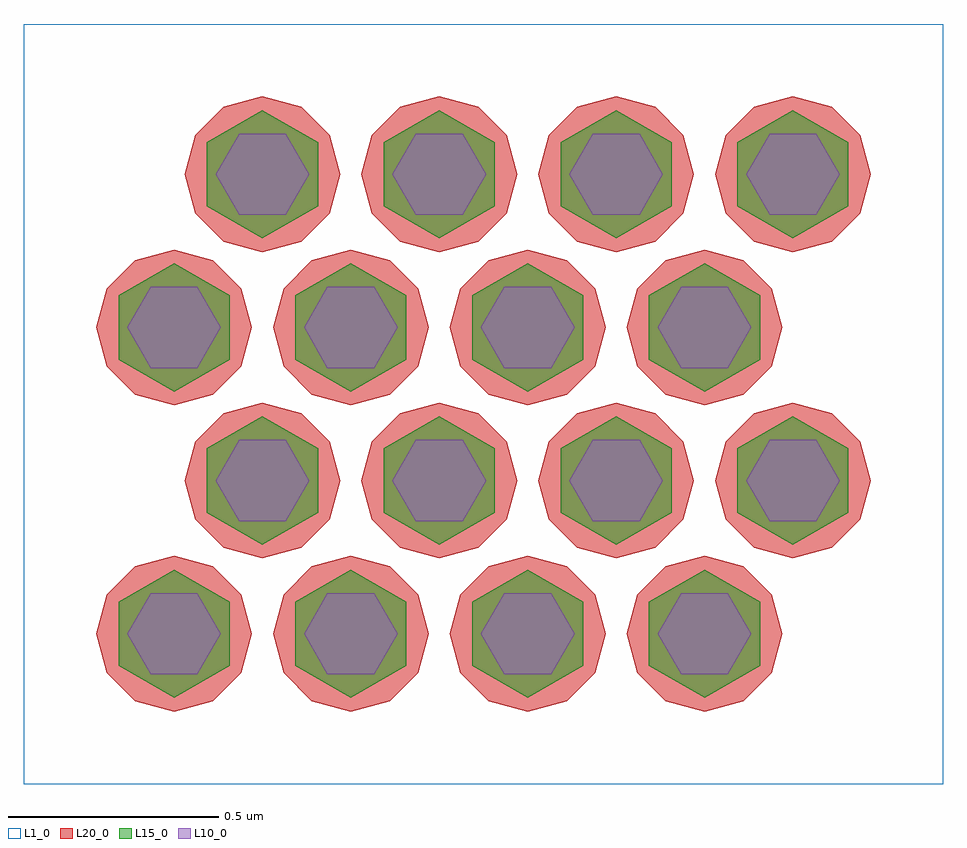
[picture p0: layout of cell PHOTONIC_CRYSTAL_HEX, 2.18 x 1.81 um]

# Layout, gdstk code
import gdstk
lib = gdstk.Library(unit=1e-6, precision=1e-12)
def R(c, l, rs):  # rectangles x0, y0, x1, y1
    for r in rs: c.add(gdstk.rectangle(r[:2], r[2:], *l))
def P(c, l, *ps):  # polygons
    for p in ps: c.add(gdstk.Polygon(p, *l))
L1_0 = (1, 0)
L10_0 = (10, 0)
L15_0 = (15, 0)
L20_0 = (20, 0)

photonic_crystal_hex = lib.new_cell('PHOTONIC_CRYSTAL_HEX')
R(photonic_crystal_hex, L1_0, [(-0.357,-0.357,1.827,1.4482)])
P(photonic_crystal_hex, L10_0, [(0.0556,-0.0964),(0.1113,0),(0.0556,0.0964),(-0.0556,0.0964),(-0.1113,0),(-0.0556,-0.0964)],
  [(0.4756,-0.0964),(0.5313,0),(0.4756,0.0964),(0.3644,0.0964),(0.3087,0),(0.3644,-0.0964)],
  [(0.8956,-0.0964),(0.9513,0),(0.8956,0.0964),(0.7844,0.0964),(0.7287,0),(0.7844,-0.0964)],
  [(1.3156,-0.0964),(1.3713,0),(1.3156,0.0964),(1.2044,0.0964),(1.1487,0),(1.2044,-0.0964)],
  [(0.2656,0.2674),(0.3213,0.3637),(0.2656,0.4601),(0.1544,0.4601),(0.0987,0.3637),(0.1544,0.2674)],
  [(0.6856,0.2674),(0.7413,0.3637),(0.6856,0.4601),(0.5744,0.4601),(0.5187,0.3637),(0.5744,0.2674)],
  [(1.1056,0.2674),(1.1613,0.3637),(1.1056,0.4601),(0.9944,0.4601),(0.9387,0.3637),(0.9944,0.2674)],
  [(1.5256,0.2674),(1.5813,0.3637),(1.5256,0.4601),(1.4144,0.4601),(1.3587,0.3637),(1.4144,0.2674)],
  [(0.0556,0.6311),(0.1113,0.7275),(0.0556,0.8238),(-0.0556,0.8238),(-0.1113,0.7275),(-0.0556,0.6311)],
  [(0.4756,0.6311),(0.5313,0.7275),(0.4756,0.8238),(0.3644,0.8238),(0.3087,0.7275),(0.3644,0.6311)],
  [(0.8956,0.6311),(0.9513,0.7275),(0.8956,0.8238),(0.7844,0.8238),(0.7287,0.7275),(0.7844,0.6311)],
  [(1.3156,0.6311),(1.3713,0.7275),(1.3156,0.8238),(1.2044,0.8238),(1.1487,0.7275),(1.2044,0.6311)],
  [(0.2656,0.9948),(0.3213,1.0912),(0.2656,1.1875),(0.1544,1.1875),(0.0987,1.0912),(0.1544,0.9948)],
  [(0.6856,0.9948),(0.7413,1.0912),(0.6856,1.1875),(0.5744,1.1875),(0.5187,1.0912),(0.5744,0.9948)],
  [(1.1056,0.9948),(1.1613,1.0912),(1.1056,1.1875),(0.9944,1.1875),(0.9387,1.0912),(0.9944,0.9948)],
  [(1.5256,0.9948),(1.5813,1.0912),(1.5256,1.1875),(1.4144,1.1875),(1.3587,1.0912),(1.4144,0.9948)])
P(photonic_crystal_hex, L15_0, [(0.132,-0.0762),(0.132,0.0762),(0,0.1524),(-0.132,0.0762),(-0.132,-0.0762),(0,-0.1524)],
  [(0.552,-0.0762),(0.552,0.0762),(0.42,0.1524),(0.288,0.0762),(0.288,-0.0762),(0.42,-0.1524)],
  [(0.972,-0.0762),(0.972,0.0762),(0.84,0.1524),(0.708,0.0762),(0.708,-0.0762),(0.84,-0.1524)],
  [(1.392,-0.0762),(1.392,0.0762),(1.26,0.1524),(1.128,0.0762),(1.128,-0.0762),(1.26,-0.1524)],
  [(0.342,0.2875),(0.342,0.4399),(0.21,0.5161),(0.078,0.4399),(0.078,0.2875),(0.21,0.2113)],
  [(0.762,0.2875),(0.762,0.4399),(0.63,0.5161),(0.498,0.4399),(0.498,0.2875),(0.63,0.2113)],
  [(1.182,0.2875),(1.182,0.4399),(1.05,0.5161),(0.918,0.4399),(0.918,0.2875),(1.05,0.2113)],
  [(1.602,0.2875),(1.602,0.4399),(1.47,0.5161),(1.338,0.4399),(1.338,0.2875),(1.47,0.2113)],
  [(0.132,0.6513),(0.132,0.8037),(0,0.8798),(-0.132,0.8037),(-0.132,0.6513),(0,0.5751)],
  [(0.552,0.6513),(0.552,0.8037),(0.42,0.8798),(0.288,0.8037),(0.288,0.6513),(0.42,0.5751)],
  [(0.972,0.6513),(0.972,0.8037),(0.84,0.8798),(0.708,0.8037),(0.708,0.6513),(0.84,0.5751)],
  [(1.392,0.6513),(1.392,0.8037),(1.26,0.8798),(1.128,0.8037),(1.128,0.6513),(1.26,0.5751)],
  [(0.342,1.015),(0.342,1.1674),(0.21,1.2436),(0.078,1.1674),(0.078,1.015),(0.21,0.9388)],
  [(0.762,1.015),(0.762,1.1674),(0.63,1.2436),(0.498,1.1674),(0.498,1.015),(0.63,0.9388)],
  [(1.182,1.015),(1.182,1.1674),(1.05,1.2436),(0.918,1.1674),(0.918,1.015),(1.05,0.9388)],
  [(1.602,1.015),(1.602,1.1674),(1.47,1.2436),(1.338,1.1674),(1.338,1.015),(1.47,0.9388)])
P(photonic_crystal_hex, L20_0, [(0.0924,-0.16),(0.16,-0.0924),(0.1848,0),(0.16,0.0924),(0.0924,0.16),(0,0.1848),(-0.0924,0.16),(-0.16,0.0924),(-0.1848,0),(-0.16,-0.0924),(-0.0924,-0.16),(0,-0.1848)],
  [(0.5124,-0.16),(0.58,-0.0924),(0.6048,0),(0.58,0.0924),(0.5124,0.16),(0.42,0.1848),(0.3276,0.16),(0.26,0.0924),(0.2352,0),(0.26,-0.0924),(0.3276,-0.16),(0.42,-0.1848)],
  [(0.9324,-0.16),(1,-0.0924),(1.0248,0),(1,0.0924),(0.9324,0.16),(0.84,0.1848),(0.7476,0.16),(0.68,0.0924),(0.6552,0),(0.68,-0.0924),(0.7476,-0.16),(0.84,-0.1848)],
  [(1.3524,-0.16),(1.42,-0.0924),(1.4448,0),(1.42,0.0924),(1.3524,0.16),(1.26,0.1848),(1.1676,0.16),(1.1,0.0924),(1.0752,0),(1.1,-0.0924),(1.1676,-0.16),(1.26,-0.1848)],
  [(0.3024,0.2037),(0.37,0.2713),(0.3948,0.3637),(0.37,0.4561),(0.3024,0.5238),(0.21,0.5485),(0.1176,0.5238),(0.05,0.4561),(0.0252,0.3637),(0.05,0.2713),(0.1176,0.2037),(0.21,0.1789)],
  [(0.7224,0.2037),(0.79,0.2713),(0.8148,0.3637),(0.79,0.4561),(0.7224,0.5238),(0.63,0.5485),(0.5376,0.5238),(0.47,0.4561),(0.4452,0.3637),(0.47,0.2713),(0.5376,0.2037),(0.63,0.1789)],
  [(1.1424,0.2037),(1.21,0.2713),(1.2348,0.3637),(1.21,0.4561),(1.1424,0.5238),(1.05,0.5485),(0.9576,0.5238),(0.89,0.4561),(0.8652,0.3637),(0.89,0.2713),(0.9576,0.2037),(1.05,0.1789)],
  [(1.5624,0.2037),(1.63,0.2713),(1.6548,0.3637),(1.63,0.4561),(1.5624,0.5238),(1.47,0.5485),(1.3776,0.5238),(1.31,0.4561),(1.2852,0.3637),(1.31,0.2713),(1.3776,0.2037),(1.47,0.1789)],
  [(0.0924,0.5674),(0.16,0.6351),(0.1848,0.7275),(0.16,0.8199),(0.0924,0.8875),(0,0.9123),(-0.0924,0.8875),(-0.16,0.8199),(-0.1848,0.7275),(-0.16,0.6351),(-0.0924,0.5674),(0,0.5427)],
  [(0.5124,0.5674),(0.58,0.6351),(0.6048,0.7275),(0.58,0.8199),(0.5124,0.8875),(0.42,0.9123),(0.3276,0.8875),(0.26,0.8199),(0.2352,0.7275),(0.26,0.6351),(0.3276,0.5674),(0.42,0.5427)],
  [(0.9324,0.5674),(1,0.6351),(1.0248,0.7275),(1,0.8199),(0.9324,0.8875),(0.84,0.9123),(0.7476,0.8875),(0.68,0.8199),(0.6552,0.7275),(0.68,0.6351),(0.7476,0.5674),(0.84,0.5427)],
  [(1.3524,0.5674),(1.42,0.6351),(1.4448,0.7275),(1.42,0.8199),(1.3524,0.8875),(1.26,0.9123),(1.1676,0.8875),(1.1,0.8199),(1.0752,0.7275),(1.1,0.6351),(1.1676,0.5674),(1.26,0.5427)],
  [(0.3024,0.9311),(0.37,0.9988),(0.3948,1.0912),(0.37,1.1836),(0.3024,1.2512),(0.21,1.276),(0.1176,1.2512),(0.05,1.1836),(0.0252,1.0912),(0.05,0.9988),(0.1176,0.9312),(0.21,0.9064)],
  [(0.7224,0.9311),(0.79,0.9988),(0.8148,1.0912),(0.79,1.1836),(0.7224,1.2512),(0.63,1.276),(0.5376,1.2512),(0.47,1.1836),(0.4452,1.0912),(0.47,0.9988),(0.5376,0.9312),(0.63,0.9064)],
  [(1.1424,0.9311),(1.21,0.9988),(1.2348,1.0912),(1.21,1.1836),(1.1424,1.2512),(1.05,1.276),(0.9576,1.2512),(0.89,1.1836),(0.8652,1.0912),(0.89,0.9988),(0.9576,0.9312),(1.05,0.9064)],
  [(1.5624,0.9311),(1.63,0.9988),(1.6548,1.0912),(1.63,1.1836),(1.5624,1.2512),(1.47,1.276),(1.3776,1.2512),(1.31,1.1836),(1.2852,1.0912),(1.31,0.9988),(1.3776,0.9312),(1.47,0.9064)])

lib.write_gds('PHOTONIC_CRYSTAL_HEX.gds')
